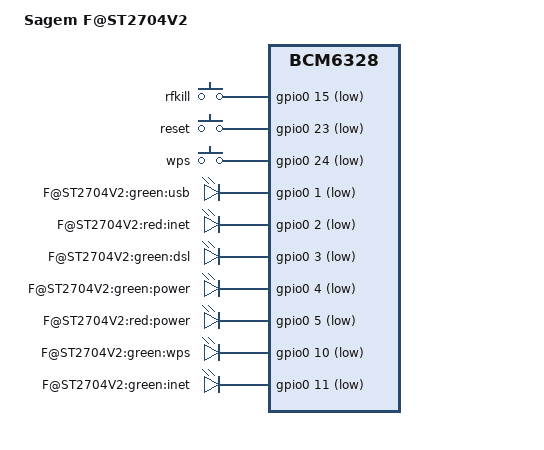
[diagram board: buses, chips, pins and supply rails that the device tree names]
/dts-v1/;

#include "bcm6328.dtsi"

#include <dt-bindings/input/input.h>

/ {
	model = "Sagem F@ST2704V2";
	compatible = "sagem,f@st2704v2", "brcm,bcm6328";

	chosen {
		bootargs = "root=/dev/mtdblock2 rootfstype=squashfs,jffs2 noinitrd console=ttyS0,115200";
	};

	gpio-keys-polled {
		compatible = "gpio-keys-polled";
		#address-cells = <1>;
		#size-cells = <0>;
		poll-interval = <20>;
		debounce-interval = <60>;

		rfkill {
			label = "rfkill";
			gpios = <&gpio0 15 1>;
			linux,code = <KEY_WLAN>;
		};
		reset {
			label = "reset";
			gpios = <&gpio0 23 1>;
			linux,code = <KEY_RESTART>;
		};
		wps {
			label = "wps";
			gpios = <&gpio0 24 1>;
			linux,code = <KEY_WPS_BUTTON>;
		};
	};

	gpio-leds {
		compatible = "gpio-leds";

		usb_green {
			label = "F@ST2704V2:green:usb";
			gpios = <&gpio0 1 1>;
		};
		inet_red {
			label = "F@ST2704V2:red:inet";
			gpios = <&gpio0 2 1>;
		};
		dsl_green {
			label = "F@ST2704V2:green:dsl";
			gpios = <&gpio0 3 1>;
		};
		power_green {
			label = "F@ST2704V2:green:power";
			gpios = <&gpio0 4 1>;
			default-state = "on";
		};
		power_red {
			label = "F@ST2704V2:red:power";
			gpios = <&gpio0 5 1>;
		};
		wps_green {
			label = "F@ST2704V2:green:wps";
			gpios = <&gpio0 10 1>;
		};
		inet_green {
			label = "F@ST2704V2:green:inet";
			gpios = <&gpio0 11 1>;
		};
	};
};
